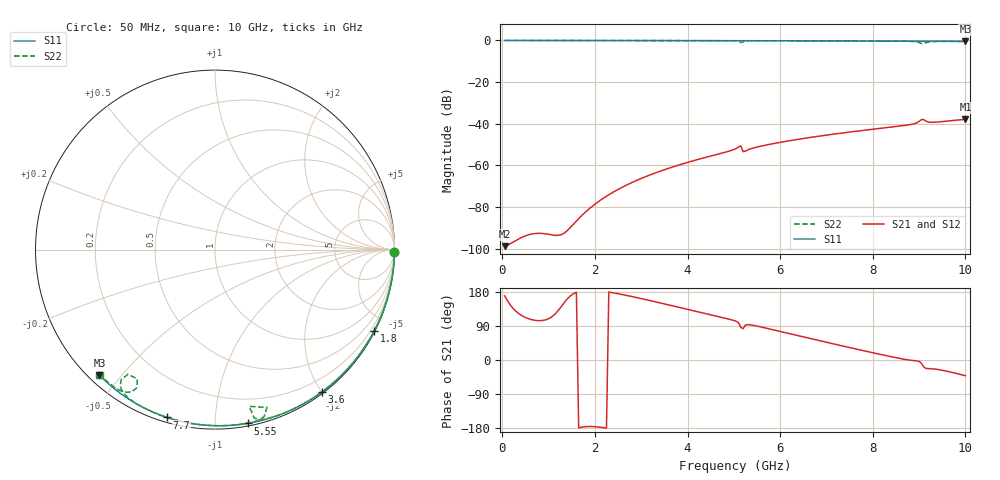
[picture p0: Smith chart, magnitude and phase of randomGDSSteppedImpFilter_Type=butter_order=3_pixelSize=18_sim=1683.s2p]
! freq	dB(S11)	phase(S11)	dB(S12)	phase(S12)
!  dB(S21)	phase(S21)	dB(S22)	phase(S22)
!S-par simulation data
#  GHz  S  DB  R 50
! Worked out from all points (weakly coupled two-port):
!   200 points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, 50 MHz to 10 GHz, reference 50 ohm
!   highest |S21| = -37.84 dB at 10 GHz (marker M1); lowest = -98.8 dB at 50 MHz (marker M2)
!   lowest |S11| = -0.4 dB at 10 GHz (marker M3), VSWR 39.17, Z = 1.52 - j21.9 ohm
!   |S11| at or under -10 dB: nowhere
!   |S22| runs from -1.5 to 0.0 dB; largest |S21 - S12| = 0
!   S11 on the Smith chart (normalised r, x): 50 MHz: open; 1.8 GHz: 0.04, -4.13; 3.6 GHz: 0.02, -2.00; 5.55 GHz: 0.02, -1.20; 7.7 GHz: 0.02, -0.75; 10 GHz: 0.03, -0.44
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0.05  -0.00 -0.8  -98.78 169.4  -98.78 169.4  -0.00 -0.8
1.75  -0.03 -26.5  -83.34 -176.5  -83.34 -176.5  -0.03 -26.7
1.8  -0.03 -27.2  -82.31 -175.9  -82.31 -175.9  -0.03 -27.4
1.95  -0.04 -29.4  -79.49 -175.7  -79.49 -175.7  -0.04 -29.7
2.55  -0.05 -38.2  -70.93 173.8  -70.93 173.8  -0.05 -38.5
3.4  -0.07 -50.4  -62.84 150.9  -62.84 150.9  -0.07 -50.8
3.6  -0.07 -53.2  -61.32 145.2  -61.32 145.2  -0.07 -53.7
5.05  -0.11 -72.9  -51.90 102.2  -51.90 102.2  -0.19 -75.2
5.1  -0.11 -73.5  -51.19 98.5  -51.19 98.5  -0.32 -76.9
5.15  -0.12 -74.2  -50.59 86.1  -50.59 86.1  -0.97 -77.7
5.2  -0.12 -74.8  -53.38 82.7  -53.38 82.7  -0.67 -71.8
5.3  -0.12 -76.2  -52.56 93.4  -52.56 93.4  -0.19 -75.0
5.55  -0.13 -79.4  -50.92 88.2  -50.92 88.2  -0.14 -79.3
6.7  -0.18 -93.9  -46.40 55.3  -46.40 55.3  -0.18 -94.4
7.7  -0.24 -106.0  -43.43 27.3  -43.43 27.3  -0.25 -106.8
8.35  -0.29 -113.7  -41.72 9.9  -41.72 9.9  -0.30 -115.0
8.85  -0.33 -119.5  -40.22 -1.2  -40.22 -1.2  -0.47 -122.5
9  -0.35 -121.2  -38.89 -3.4  -38.89 -3.4  -0.97 -125.8
9.05  -0.35 -121.8  -37.98 -8.5  -37.98 -8.5  -1.44 -124.9
9.1  -0.36 -122.3  -38.00 -18.3  -38.00 -18.3  -1.51 -121.0
9.25  -0.37 -124.1  -39.30 -22.8  -39.30 -22.8  -0.61 -121.5
10  -0.44 -132.7  -37.84 -41.4  -37.84 -41.4  -0.47 -132.5
